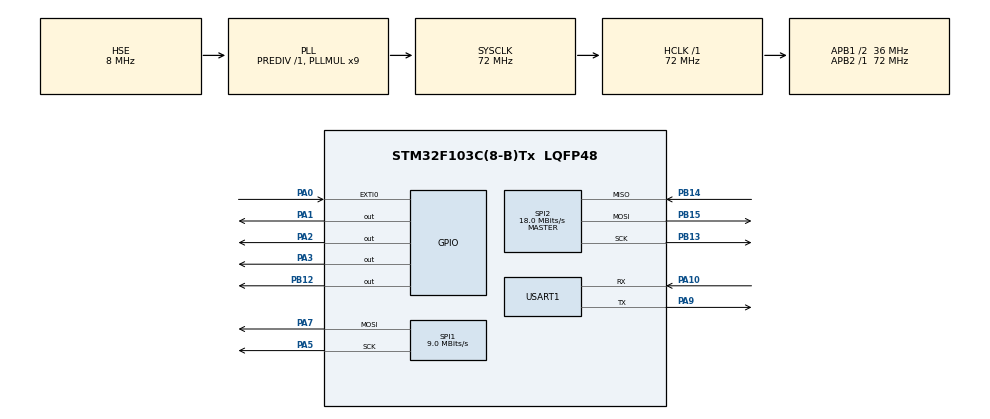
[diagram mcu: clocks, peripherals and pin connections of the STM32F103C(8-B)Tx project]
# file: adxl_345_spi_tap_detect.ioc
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Dma.Request0=SPI1_TX
Dma.Request1=SPI2_RX
Dma.Request2=SPI2_TX
Dma.SPI1_TX.0.Direction=DMA_MEMORY_TO_PERIPH
Dma.SPI1_TX.0.Instance=DMA1_Channel3
Dma.SPI1_TX.0.MemDataAlignment=DMA_MDATAALIGN_BYTE
Dma.SPI1_TX.0.MemInc=DMA_MINC_ENABLE
Dma.SPI1_TX.0.Mode=DMA_NORMAL
Dma.SPI1_TX.0.PeriphDataAlignment=DMA_PDATAALIGN_BYTE
Dma.SPI1_TX.0.PeriphInc=DMA_PINC_DISABLE
Dma.SPI1_TX.0.Priority=DMA_PRIORITY_LOW
Dma.SPI2_RX.1.Direction=DMA_PERIPH_TO_MEMORY
Dma.SPI2_RX.1.Instance=DMA1_Channel4
Dma.SPI2_RX.1.MemDataAlignment=DMA_MDATAALIGN_BYTE
Dma.SPI2_RX.1.MemInc=DMA_MINC_ENABLE
Dma.SPI2_RX.1.Mode=DMA_NORMAL
Dma.SPI2_RX.1.PeriphDataAlignment=DMA_PDATAALIGN_BYTE
Dma.SPI2_RX.1.PeriphInc=DMA_PINC_DISABLE
Dma.SPI2_RX.1.Priority=DMA_PRIORITY_LOW
Dma.SPI2_TX.2.Direction=DMA_MEMORY_TO_PERIPH
Dma.SPI2_TX.2.Instance=DMA1_Channel5
Dma.SPI2_TX.2.MemDataAlignment=DMA_MDATAALIGN_BYTE
Dma.SPI2_TX.2.MemInc=DMA_MINC_ENABLE
Dma.SPI2_TX.2.Mode=DMA_NORMAL
Dma.SPI2_TX.2.PeriphDataAlignment=DMA_PDATAALIGN_BYTE
Dma.SPI2_TX.2.PeriphInc=DMA_PINC_DISABLE
Dma.SPI2_TX.2.Priority=DMA_PRIORITY_LOW
Mcu.Family=STM32F1
Mcu.Name=STM32F103C(8-B)Tx
Mcu.Package=LQFP48
NVIC.DMA1_Channel3_IRQn=true\:0\:0\:false\:false\:true\:false\:true\:true
NVIC.DMA1_Channel4_IRQn=true\:0\:0\:false\:false\:true\:false\:true\:true
NVIC.DMA1_Channel5_IRQn=true\:0\:0\:false\:false\:true\:false\:true\:true
NVIC.EXTI0_IRQn=true\:1\:0\:true\:false\:true\:true\:true\:true
NVIC.PriorityGroup=NVIC_PRIORITYGROUP_4
NVIC.SPI1_IRQn=true\:0\:0\:false\:false\:true\:true\:true\:true
NVIC.SPI2_IRQn=true\:0\:0\:false\:false\:true\:true\:true\:true
NVIC.TIM2_IRQn=true\:0\:0\:false\:false\:true\:true\:true\:true
NVIC.USART1_IRQn=true\:0\:0\:false\:false\:true\:true\:true\:true
PA0-WKUP.GPIO_ModeDefaultEXTI=GPIO_MODE_IT_RISING
PA0-WKUP.Signal=GPXTI0
PA1.Signal=GPIO_Output
PA10.Mode=Asynchronous
PA10.Signal=USART1_RX
PA13.Mode=Serial_Wire
PA13.Signal=SYS_JTMS-SWDIO
PA14.Mode=Serial_Wire
PA14.Signal=SYS_JTCK-SWCLK
PA2.Signal=GPIO_Output
PA3.Signal=GPIO_Output
PA5.Mode=TX_Only_Simplex_Unidirect_Master
PA5.Signal=SPI1_SCK
PA7.Mode=TX_Only_Simplex_Unidirect_Master
PA7.Signal=SPI1_MOSI
PA9.Mode=Asynchronous
PA9.Signal=USART1_TX
PB12.Signal=GPIO_Output
PB13.Mode=Full_Duplex_Master
PB13.Signal=SPI2_SCK
PB14.Mode=Full_Duplex_Master
PB14.Signal=SPI2_MISO
PB15.Mode=Full_Duplex_Master
PB15.Signal=SPI2_MOSI
PD0-OSC_IN.Mode=HSE-External-Oscillator
PD0-OSC_IN.Signal=RCC_OSC_IN
PD1-OSC_OUT.Mode=HSE-External-Oscillator
PD1-OSC_OUT.Signal=RCC_OSC_OUT
ProjectManager.HeapSize=0x300
ProjectManager.StackSize=0x200
ProjectManager.TargetToolchain=STM32CubeIDE
RCC.AHBFreq_Value=72000000
RCC.APB1CLKDivider=RCC_HCLK_DIV2
RCC.APB1Freq_Value=36000000
RCC.APB1TimFreq_Value=72000000
RCC.APB2Freq_Value=72000000
RCC.APB2TimFreq_Value=72000000
RCC.HCLKFreq_Value=72000000
RCC.PLLMUL=RCC_PLL_MUL9
RCC.PLLSourceVirtual=RCC_PLLSOURCE_HSE
RCC.SYSCLKFreq_VALUE=72000000
RCC.SYSCLKSource=RCC_SYSCLKSOURCE_PLLCLK
RCC.USBFreq_Value=72000000
SPI1.BaudRatePrescaler=SPI_BAUDRATEPRESCALER_8
SPI1.CLKPhase=SPI_PHASE_2EDGE
SPI1.CLKPolarity=SPI_POLARITY_HIGH
SPI1.CalculateBaudRate=9.0 MBits/s
SPI1.Direction=SPI_DIRECTION_2LINES
SPI1.Mode=SPI_MODE_MASTER
SPI1.VirtualType=VM_MASTER
SPI2.CLKPhase=SPI_PHASE_2EDGE
SPI2.CLKPolarity=SPI_POLARITY_HIGH
SPI2.CalculateBaudRate=18.0 MBits/s
SPI2.Direction=SPI_DIRECTION_2LINES
SPI2.Mode=SPI_MODE_MASTER
SPI2.VirtualType=VM_MASTER
TIM2.Period=1249
TIM2.Prescaler=71
USART1.VirtualMode=VM_ASYNC
VP_TIM2_VS_ClockSourceINT.Mode=Internal
board=custom

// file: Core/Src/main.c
/* USER CODE BEGIN Header */
/**
 *  пример на HAL/C, который:

    инициализирует ADXL345 в full-resolution ±16g (как у тебя),

    настраивает SPI2 и CS (PB12),

    читает сырой int16_t по трем осям,

    переводит в g и в м/с²,

    отслеживает и держит максимальные пики,

    содержит простую логику детекции удара (порог + защита по времени).
 *
 *
 * Пояснения и практические советы

    Преобразование в g и m/s²

        В full-res используем g = raw * 0.0039.

        m/s² = g * 9.80665.
        Это приближённое значение, но для ударов/пиков достаточно точно.

    Выбор порога IMPACT_THRESHOLD_G

        6g — просто пример. Подбери эмпирически: сначала понаблюдай обычное движение (ходьба/стряхивание) и
        поставь порог выше шума, но ниже реального удара.

        Можно сделать адаптивный порог: усреднять фон и считать отклонение.

    Защита от ложных срабатываний

        Я добавил IMPACT_DEBOUNCE_MS — после удара игнорируем новые в течение N миллисекунд.

        Альтернатива — требовать, чтобы значение превысило порог N последовательных выборок.

    Tap/Activity детекция аппаратно

        ADXL345 умеет аппаратно детектировать single/double tap и activity/inactivity, и выдавать прерывание на INT1/INT2. Это точнее и не нагружает CPU. Если нужно — дам пример настройки регистров THRESH_TAP, DUR, INT_ENABLE и обработку внешнего прерывания.

    Частота выборки (BW_RATE)

        Для ударов полезно повысить частоту (чем выше — тем короче импульс можно захватить). Но это увеличивает поток данных. ADXL345 может давать высокие частоты (см. даташит). Подбери значение, совместимое с твоим SAMPLE_PERIOD_MS.

    Проверка направлений и смещения

        Прибор может иметь смещение (offset). Для точных измерений сделай нулевую калибровку: при неподвижной установке вычисли среднее по нескольким секундам и вычти из измерений.
 *
  ******************************************************************************
  * @file           : main.c
  * @brief          : Main program body
  ******************************************************************************
  * @attention
  *
  * Copyright (c) 2025 STMicroelectronics.
  * All rights reserved.
  *
  * This software is licensed under terms that can be found in the LICENSE file
  * in the root directory of this software component.
  * If no LICENSE file comes with this software, it is provided AS-IS.
  *
  ******************************************************************************
  */
/* USER CODE END Header */
#include "main.h"

/* USER CODE BEGIN Includes */
#include <stdint.h>
#include <stdio.h>
#include <stdlib.h>
#include <math.h>
#include <string.h>
#include <stdbool.h>

#include "st7789.h"
#include "fonts.h"
#include "diag/Trace.h"
/* USER CODE END Includes */

/* USER CODE BEGIN PM */
extern void initialise_monitor_handles(void);
/* USER CODE END PM */

SPI_HandleTypeDef hspi1;
SPI_HandleTypeDef hspi2;
DMA_HandleTypeDef hdma_spi1_tx;
DMA_HandleTypeDef hdma_spi2_rx;
DMA_HandleTypeDef hdma_spi2_tx;

TIM_HandleTypeDef htim2;

UART_HandleTypeDef huart1;

/* USER CODE BEGIN PV */
#define CS_Pin GPIO_PIN_12
#define CS_Port GPIOB

#define SAMPLE_COUNT 256   // количество выборок на удар
#define SAMPLE_RATE_HZ 800 // частота дискретизации

typedef struct {
    float g, a;
} AccelSample;

volatile uint8_t recording = 0;
volatile uint16_t sample_index = 0;
AccelSample samples[SAMPLE_COUNT];
/* USER CODE END PV */

void SystemClock_Config(void);
static void MX_GPIO_Init(void);
static void MX_DMA_Init(void);
static void MX_SPI1_Init(void);
static void MX_SPI2_Init(void);
static void MX_USART1_UART_Init(void);
static void MX_TIM2_Init(void);

/* USER CODE BEGIN 0 */
// Функции работы с CS
void ADXL345_CS_Select()   { HAL_GPIO_WritePin(CS_Port, CS_Pin, GPIO_PIN_RESET); }
void ADXL345_CS_Deselect() { HAL_GPIO_WritePin(CS_Port, CS_Pin, GPIO_PIN_SET); }

// Функции SPI записи/чтения
void ADXL345_WriteReg(uint8_t reg, uint8_t data) {
    uint8_t buf[2] = {reg & 0x3F, data};  // MSB=0 для записи
    ADXL345_CS_Select();
    HAL_SPI_Transmit(&hspi2, buf, 2, HAL_MAX_DELAY);
    ADXL345_CS_Deselect();
}

uint8_t ADXL345_ReadReg(uint8_t reg) {
    uint8_t tx = 0x80 | (reg & 0x3F); // MSB=1 для чтения
    uint8_t rx = 0;
    ADXL345_CS_Select();
    HAL_SPI_TransmitReceive(&hspi2, &tx, &rx, 1, HAL_MAX_DELAY);
    ADXL345_CS_Deselect();
    return rx;
}

void ADXL345_ReadAxes(int16_t* x, int16_t* y, int16_t* z) {
    uint8_t tx[7];
    uint8_t rx[7];
    tx[0] = 0x80 | 0x40 | 0x32; // чтение многобайтно с DATAX0
    for(int i=1; i<7; i++) tx[i]=0x00;

    ADXL345_CS_Select();
    HAL_SPI_TransmitReceive(&hspi2, tx, rx, 7, HAL_MAX_DELAY);
    ADXL345_CS_Deselect();

    *x = (int16_t)((rx[2]<<8)|rx[1]);
    *y = (int16_t)((rx[4]<<8)|rx[3]);
    *z = (int16_t)((rx[6]<<8)|rx[5]);
}

uint8_t ADXL_ReadReg(uint8_t reg)
{
    uint8_t tx = reg | 0x80; // R/W=1
    uint8_t rx = 0;

    HAL_GPIO_WritePin(GPIOB, GPIO_PIN_12, GPIO_PIN_RESET); // CS LOW
    HAL_SPI_Transmit(&hspi2, &tx, 1, HAL_MAX_DELAY);       // отправили адрес
    HAL_SPI_Receive(&hspi2, &rx, 1, HAL_MAX_DELAY);        // читаем 1 байт
    HAL_GPIO_WritePin(GPIOB, GPIO_PIN_12, GPIO_PIN_SET);   // CS HIGH

    return rx;
}

void ADXL_TestLoop(void)
{
    char message[128];
	while (1)
    {
        uint8_t int_enable = ADXL_ReadReg(0x2E);
        uint8_t int_map    = ADXL_ReadReg(0x2F);
        uint8_t int_src    = ADXL_ReadReg(0x30);

        //sprintf(message, "INT_ENABLE=0x%02X, INT_MAP=0x%02X, INT_SOURCE=0x%02X", int_enable, int_map, int_src);
        //HAL_UART_Transmit(&huart1, message, strlen(message), HAL_MAX_DELAY);
        trace_printf("INT_ENABLE=0x%02X, INT_MAP=0x%02X, INT_SOURCE=0x%02X\n", int_enable, int_map, int_src);
        HAL_Delay(500);
    }
}

// Инициализация ADXL345
/* Инициализация ADXL345 */
/* Примечание: здесь устанавливаем full resolution и диапазон ±16g (DATA_FORMAT = 0x0B),
   включаем измерения POWER_CTL = 0x08.
   При желании можно настроить частоту в регистре BW_RATE (0x2C) */
void ADXL345_Init(void) {
    HAL_Delay(10);
    ADXL345_WriteReg(0x2D, 0x00); // сброс POWER_CTL чтобы быть уверенным
    HAL_Delay(5);
    ADXL345_WriteReg(0x31, 0x0B); // DATA_FORMAT: FULL_RES=1, range=11 (±16g)
    HAL_Delay(2);
    // опционально: установить скорость выборки (BW_RATE). По умолчанию 100 Hz.
    ADXL345_WriteReg(0x2C, 0x0D); // пример: установить 100 Hz (см. datasheet для нужного значения)
    ADXL345_WriteReg(0x2D, 0x08); // POWER_CTL: Measure = 1
    HAL_Delay(5);

    // --- Настройка Tap ---
	ADXL345_WriteReg(0x1D, 0x10); // THRESH_TAP ~ 3g (48*62.5mg)
	ADXL345_WriteReg(0x21, 0x10); // DUR ~ 6.25ms
	ADXL345_WriteReg(0x2A, 0x07); // TAP_AXES: X,Y,Z

	// --- Настройка прерываний ---
	ADXL345_WriteReg(0x2E, 0x40); // INT_ENABLE: bit6=SingleTap
	ADXL345_WriteReg(0x2F, 0x00); // INT_MAP: SingleTap → INT1

}

/* Константы преобразования:
   В full-resolution ADXL345 масштаб ~3.9 mg/LSB (часто приводят 0.0039 g/LSB).
   Используем коэффициент 0.0039 (g per LSB). */
#define ADXL_SCALE_G 0.0039f
#define G_TO_MS2 9.80665f

/* Параметры детектора удара */
#define IMPACT_THRESHOLD_G 6.0f     // порог в g (пример: 6g — подбери экспериментально)
#define IMPACT_DEBOUNCE_MS 200      // окно, в течение которого игнорируем новые пики (ms)
#define SAMPLE_PERIOD_MS 10          // период опроса в ms (зависит от BW_RATE)

//Получение ID устройства, должно вывести 0xE5 (проверка устройства)
uint8_t ADXL345_ReadID() {
    uint8_t tx[2] = {0x80 | 0x00, 0x00}; // запрос регистра 0x00
    uint8_t rx[2] = {0};
    ADXL345_CS_Select();
    HAL_SPI_TransmitReceive(&hspi2, tx, rx, 2, HAL_MAX_DELAY);
    ADXL345_CS_Deselect();
    return rx[1]; // второй байт = ответ
}

/* Простая структура для хранения максимумов */
typedef struct {
    float max_g_x;
    float max_g_y;
    float max_g_z;
    uint32_t last_impact_tick; // HAL_GetTick() временная метка
} PeakData;

PeakData peaks = {0};

void process_sample_and_detect(int16_t rx, int16_t ry, int16_t rz)
{
	char message[255];
	char message_display[128];
	// Преобразование raw -> g -> m/s^2
    float gx = (float)rx * ADXL_SCALE_G;
    float gy = (float)ry * ADXL_SCALE_G;
    float gz = (float)rz * ADXL_SCALE_G;
    float abs_gx = fabsf(gx), abs_gy = fabsf(gy), abs_gz = fabsf(gz);
    float abs_g = sqrt(gx*gx + gy*gy + gz*gz);
    float a_ms2 = abs_g * G_TO_MS2;

    // Обновляем пики по осям (в g)
    if (abs_gx > peaks.max_g_x) peaks.max_g_x = abs_gx;
    if (abs_gy > peaks.max_g_y) peaks.max_g_y = abs_gy;
    if (abs_gz > peaks.max_g_z) peaks.max_g_z = abs_gz;

    // Простая детекция удара: если любая ось превысила порог и прошло достаточно времени —
    // регистрируем событие.
    uint32_t now = HAL_GetTick();
	peaks.last_impact_tick = now;
	// Реагируем на удар: печатаем, ставим светодиод, сохраняем в память и т.д.

	sprintf(message, "! IMPACT detected at tick %lu: g=%.2fg m/s2=%.2fg\n",
		   (unsigned long)now, abs_g, a_ms2);
	sprintf(message_display, "%.2f g", abs_g);
	ST7789_WriteString(20, 80, message_display, Font_16x26, GRED, BLACK);
	sprintf(message_display, "%.2fg m/s2", a_ms2);
	ST7789_WriteString(20, 120, message_display, Font_16x26, GREEN, BLACK);
	HAL_UART_Transmit(&huart1, message, strlen(message), HAL_MAX_DELAY);

    // Вывод текущих величин и максимумов (пример)
//    float ax_ms2 = gx * G_TO_MS2;
//    float ay_ms2 = gy * G_TO_MS2;
//    float az_ms2 = gz * G_TO_MS2;
//    sprintf(message, "g: X=%.2f Y=%.2f Z=%.2f | m/s2: X=%.2f Y=%.2f Z=%.2f | peaks g(X/Y/Z)=%.2f/%.2f/%.2f\r\n",
//           gx, gy, gz, ax_ms2, ay_ms2, az_ms2, peaks.max_g_x, peaks.max_g_y, peaks.max_g_z);
//    HAL_UART_Transmit(&huart1, message, strlen(message), HAL_MAX_DELAY);
}

void HAL_GPIO_EXTI_Callback(uint16_t GPIO_Pin)
{
	int16_t rx, ry, rz;
	char message[128];

	strcpy(message, "HAL_GPIO_EXTI_Callback");
	HAL_UART_Transmit(&huart1, message, strlen(message), HAL_MAX_DELAY);
	if (GPIO_Pin == GPIO_PIN_0) {
        // Чтение INT_SOURCE для сброса флага
        uint8_t src = ADXL_ReadReg(0x30);

        if (src & 0x40) { // bit6 = SINGLE_TAP
        	recording = 1;
            sample_index = 0;
        }
    }
}

// --- таймер для дискретизации ---
void HAL_TIM_PeriodElapsedCallback(TIM_HandleTypeDef *htim)
{
    char message[128];
    char message_display[128];

	if (htim->Instance == TIM2) {
        if (recording && sample_index < SAMPLE_COUNT) {
            int16_t x, y, z;
            ADXL345_ReadAxes(&x, &y, &z);
            // Преобразование raw -> g -> m/s^2
			float gx = (float)x * ADXL_SCALE_G;
			float gy = (float)y * ADXL_SCALE_G;
			float gz = (float)z * ADXL_SCALE_G;
			float abs_gx = fabsf(gx), abs_gy = fabsf(gy), abs_gz = fabsf(gz);
			float abs_g = sqrt(gx*gx + gy*gy + gz*gz);
			float a_ms2 = abs_g * G_TO_MS2;

            samples[sample_index].g = abs_g;
            samples[sample_index].a = a_ms2;

            sample_index++;
            if (sample_index >= SAMPLE_COUNT) {
                recording = 0;
                sprintf(message, "Recording finished!\r\n");
                HAL_UART_Transmit(&huart1, message, strlen(message), HAL_MAX_DELAY);
                // выводим в UART для графика
                float g_max, a_max = 0.0;
                for (int i = 0; i < SAMPLE_COUNT; i++) {
                    if (samples[i].g > g_max)
                    	g_max = samples[i].g;
                    if (samples[i].a > a_max)
                    	a_max = samples[i].a;
                }
                sprintf(message, "%.2f g, %.2f m/s2\r\n", g_max, a_max);
                HAL_UART_Transmit(&huart1, message, strlen(message), HAL_MAX_DELAY);
                sprintf(message_display, "%.2f g", abs_g);
				ST7789_WriteString(20, 80, message_display, Font_16x26, GRED, BLACK);
				sprintf(message_display, "%.2fg m/s2", a_ms2);
				ST7789_WriteString(20, 120, message_display, Font_16x26, GREEN, BLACK);
            }
        }
    }
}

/* USER CODE END 0 */

int main(void)
{

  /* USER CODE BEGIN 1 */
  initialise_monitor_handles();
  char message[255];

  /* USER CODE END 1 */

  /* MCU Configuration--------------------------------------------------------*/

  /* Reset of all peripherals, Initializes the Flash interface and the Systick. */
  HAL_Init();

  /* Configure the system clock */
  SystemClock_Config();

  /* Initialize all configured peripherals */
  MX_GPIO_Init();
  MX_DMA_Init();
  MX_SPI1_Init();
  MX_SPI2_Init();
  MX_USART1_UART_Init();
  MX_TIM2_Init();
  /* USER CODE BEGIN 2 */
  HAL_TIM_Base_Start_IT(&htim2);
  ADXL345_Init();
  //init display
  ST7789_Init();
  HAL_GPIO_WritePin(GPIOA, GPIO_PIN_3, GPIO_PIN_SET);
  ST7789_Fill_Color(BLACK);

  // Быстрый тест: прочитать ID
  uint8_t id = ADXL345_ReadID();
  //sprintf(message, "ADXL345 ID = 0x%02X", id);
  //HAL_UART_Transmit(&huart1, message, strlen(message), HAL_MAX_DELAY);
  //ST7789_WriteString(20, 20, message, Font_11x18, GBLUE, BLACK);
  trace_printf("ADXL345 ID = 0x%02X\n", id);

  ADXL_TestLoop();
  /* USER CODE END 2 */

  /* Infinite loop */
  /* USER CODE BEGIN WHILE */

  while (1)
  {
//	  GPIO_PinState s = HAL_GPIO_ReadPin(GPIOA, GPIO_PIN_0);
//	  sprintf(message, "INT1 raw: %d\r\n", (GPIO_PIN_SET));
//	  HAL_UART_Transmit(&huart1, message, strlen(message), HAL_MAX_DELAY);
//	  HAL_Delay(200);
	  //HAL_Delay(500);

    /* USER CODE END WHILE */

  }
}

void SystemClock_Config(void)
{
  RCC_OscInitTypeDef RCC_OscInitStruct = {0};
  RCC_ClkInitTypeDef RCC_ClkInitStruct = {0};

  /** Initializes the RCC Oscillators according to the specified parameters
  * in the RCC_OscInitTypeDef structure.
  */
  RCC_OscInitStruct.OscillatorType = RCC_OSCILLATORTYPE_HSE;
  RCC_OscInitStruct.HSEState = RCC_HSE_ON;
  RCC_OscInitStruct.HSEPredivValue = RCC_HSE_PREDIV_DIV1;
  RCC_OscInitStruct.HSIState = RCC_HSI_ON;
  RCC_OscInitStruct.PLL.PLLState = RCC_PLL_ON;
  RCC_OscInitStruct.PLL.PLLSource = RCC_PLLSOURCE_HSE;
  RCC_OscInitStruct.PLL.PLLMUL = RCC_PLL_MUL9;
  if (HAL_RCC_OscConfig(&RCC_OscInitStruct) != HAL_OK)
  {
    Error_Handler();
  }

  /** Initializes the CPU, AHB and APB buses clocks
  */
  RCC_ClkInitStruct.ClockType = RCC_CLOCKTYPE_HCLK|RCC_CLOCKTYPE_SYSCLK
                              |RCC_CLOCKTYPE_PCLK1|RCC_CLOCKTYPE_PCLK2;
  RCC_ClkInitStruct.SYSCLKSource = RCC_SYSCLKSOURCE_PLLCLK;
  RCC_ClkInitStruct.AHBCLKDivider = RCC_SYSCLK_DIV1;
  RCC_ClkInitStruct.APB1CLKDivider = RCC_HCLK_DIV2;
  RCC_ClkInitStruct.APB2CLKDivider = RCC_HCLK_DIV1;

  if (HAL_RCC_ClockConfig(&RCC_ClkInitStruct, FLASH_LATENCY_2) != HAL_OK)
  {
    Error_Handler();
  }
}

static void MX_SPI1_Init(void)
{

  /* SPI1 parameter configuration*/
  hspi1.Instance = SPI1;
  hspi1.Init.Mode = SPI_MODE_MASTER;
  hspi1.Init.Direction = SPI_DIRECTION_2LINES;
  hspi1.Init.DataSize = SPI_DATASIZE_8BIT;
  hspi1.Init.CLKPolarity = SPI_POLARITY_HIGH;
  hspi1.Init.CLKPhase = SPI_PHASE_2EDGE;
  hspi1.Init.NSS = SPI_NSS_SOFT;
  hspi1.Init.BaudRatePrescaler = SPI_BAUDRATEPRESCALER_8;
  hspi1.Init.FirstBit = SPI_FIRSTBIT_MSB;
  hspi1.Init.TIMode = SPI_TIMODE_DISABLE;
  hspi1.Init.CRCCalculation = SPI_CRCCALCULATION_DISABLE;
  hspi1.Init.CRCPolynomial = 10;
  if (HAL_SPI_Init(&hspi1) != HAL_OK)
  {
    Error_Handler();
  }

}

static void MX_SPI2_Init(void)
{

  /* SPI2 parameter configuration*/
  hspi2.Instance = SPI2;
  hspi2.Init.Mode = SPI_MODE_MASTER;
  hspi2.Init.Direction = SPI_DIRECTION_2LINES;
  hspi2.Init.DataSize = SPI_DATASIZE_8BIT;
  hspi2.Init.CLKPolarity = SPI_POLARITY_HIGH;
  hspi2.Init.CLKPhase = SPI_PHASE_2EDGE;
  hspi2.Init.NSS = SPI_NSS_SOFT;
  hspi2.Init.BaudRatePrescaler = SPI_BAUDRATEPRESCALER_2;
  hspi2.Init.FirstBit = SPI_FIRSTBIT_MSB;
  hspi2.Init.TIMode = SPI_TIMODE_DISABLE;
  hspi2.Init.CRCCalculation = SPI_CRCCALCULATION_DISABLE;
  hspi2.Init.CRCPolynomial = 10;
  if (HAL_SPI_Init(&hspi2) != HAL_OK)
  {
    Error_Handler();
  }

}

static void MX_TIM2_Init(void)
{

  TIM_ClockConfigTypeDef sClockSourceConfig = {0};
  TIM_MasterConfigTypeDef sMasterConfig = {0};

  htim2.Instance = TIM2;
  htim2.Init.Prescaler = 71;
  htim2.Init.CounterMode = TIM_COUNTERMODE_UP;
  htim2.Init.Period = 1249;
  htim2.Init.ClockDivision = TIM_CLOCKDIVISION_DIV1;
  htim2.Init.AutoReloadPreload = TIM_AUTORELOAD_PRELOAD_DISABLE;
  if (HAL_TIM_Base_Init(&htim2) != HAL_OK)
  {
    Error_Handler();
  }
  sClockSourceConfig.ClockSource = TIM_CLOCKSOURCE_INTERNAL;
  if (HAL_TIM_ConfigClockSource(&htim2, &sClockSourceConfig) != HAL_OK)
  {
    Error_Handler();
  }
  sMasterConfig.MasterOutputTrigger = TIM_TRGO_RESET;
  sMasterConfig.MasterSlaveMode = TIM_MASTERSLAVEMODE_DISABLE;
  if (HAL_TIMEx_MasterConfigSynchronization(&htim2, &sMasterConfig) != HAL_OK)
  {
    Error_Handler();
  }

}

static void MX_USART1_UART_Init(void)
{

  huart1.Instance = USART1;
  huart1.Init.BaudRate = 115200;
  huart1.Init.WordLength = UART_WORDLENGTH_8B;
  huart1.Init.StopBits = UART_STOPBITS_1;
  huart1.Init.Parity = UART_PARITY_NONE;
  huart1.Init.Mode = UART_MODE_TX_RX;
  huart1.Init.HwFlowCtl = UART_HWCONTROL_NONE;
  huart1.Init.OverSampling = UART_OVERSAMPLING_16;
  if (HAL_UART_Init(&huart1) != HAL_OK)
  {
    Error_Handler();
  }

}

static void MX_DMA_Init(void)
{

  /* DMA controller clock enable */
  __HAL_RCC_DMA1_CLK_ENABLE();

  /* DMA interrupt init */
  /* DMA1_Channel3_IRQn interrupt configuration */
  HAL_NVIC_SetPriority(DMA1_Channel3_IRQn, 0, 0);
  HAL_NVIC_EnableIRQ(DMA1_Channel3_IRQn);
  /* DMA1_Channel4_IRQn interrupt configuration */
  HAL_NVIC_SetPriority(DMA1_Channel4_IRQn, 0, 0);
  HAL_NVIC_EnableIRQ(DMA1_Channel4_IRQn);
  /* DMA1_Channel5_IRQn interrupt configuration */
  HAL_NVIC_SetPriority(DMA1_Channel5_IRQn, 0, 0);
  HAL_NVIC_EnableIRQ(DMA1_Channel5_IRQn);

}

static void MX_GPIO_Init(void)
{
  GPIO_InitTypeDef GPIO_InitStruct = {0};

  /* GPIO Ports Clock Enable */
  __HAL_RCC_GPIOD_CLK_ENABLE();
  __HAL_RCC_GPIOA_CLK_ENABLE();
  __HAL_RCC_GPIOB_CLK_ENABLE();

  /*Configure GPIO pin Output Level */
  HAL_GPIO_WritePin(GPIOA, GPIO_PIN_1|GPIO_PIN_2|GPIO_PIN_3, GPIO_PIN_RESET);

  /*Configure GPIO pin Output Level */
  HAL_GPIO_WritePin(GPIOB, GPIO_PIN_12, GPIO_PIN_RESET);

  /*Configure GPIO pin : PA0 */
  GPIO_InitStruct.Pin = GPIO_PIN_0;
  GPIO_InitStruct.Mode = GPIO_MODE_IT_RISING;
  GPIO_InitStruct.Pull = GPIO_NOPULL;
  HAL_GPIO_Init(GPIOA, &GPIO_InitStruct);

  /*Configure GPIO pins : PA1 PA2 PA3 */
  GPIO_InitStruct.Pin = GPIO_PIN_1|GPIO_PIN_2|GPIO_PIN_3;
  GPIO_InitStruct.Mode = GPIO_MODE_OUTPUT_PP;
  GPIO_InitStruct.Pull = GPIO_NOPULL;
  GPIO_InitStruct.Speed = GPIO_SPEED_FREQ_LOW;
  HAL_GPIO_Init(GPIOA, &GPIO_InitStruct);

  /*Configure GPIO pin : PB12 */
  GPIO_InitStruct.Pin = GPIO_PIN_12;
  GPIO_InitStruct.Mode = GPIO_MODE_OUTPUT_PP;
  GPIO_InitStruct.Pull = GPIO_NOPULL;
  GPIO_InitStruct.Speed = GPIO_SPEED_FREQ_LOW;
  HAL_GPIO_Init(GPIOB, &GPIO_InitStruct);

  /* EXTI interrupt init*/
  HAL_NVIC_SetPriority(EXTI0_IRQn, 1, 0);
  HAL_NVIC_EnableIRQ(EXTI0_IRQn);

}

void Error_Handler(void)
{
  __disable_irq();
  while (1)
  {
  }
}
